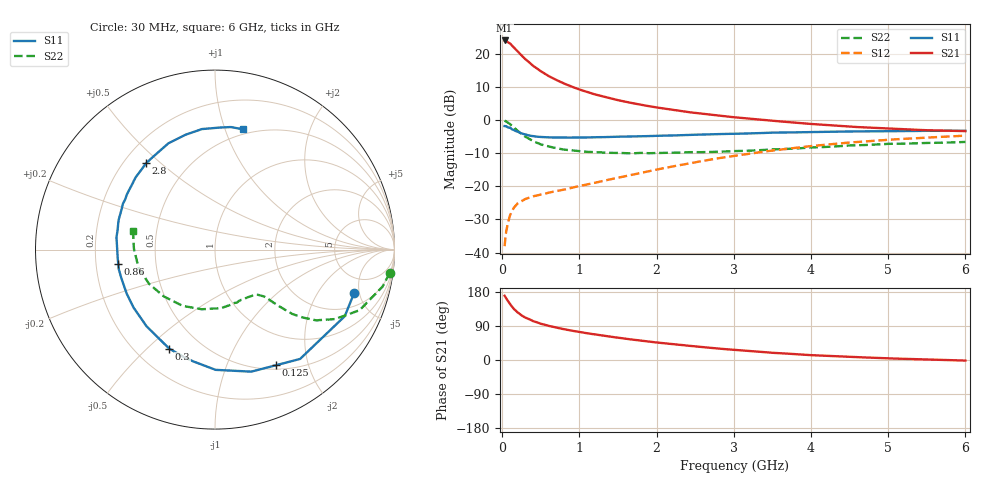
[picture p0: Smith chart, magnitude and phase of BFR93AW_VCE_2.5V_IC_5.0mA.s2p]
! Infineon Technologies  Discrete & RF Semiconductors
! BFR93AW
! VCE =  2.5 V,  IC =  5.0 mA
! Common Emitter S-Parameters:  Nov 2015
# GHz  S  MA  R  50
!  f  S11  S21  S12  S22
! GHz  MAG  ANG  MAG  ANG  MAG  ANG  MAG  ANG
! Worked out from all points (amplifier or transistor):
!   206 points, 30 MHz to 6 GHz, reference 50 ohm
!   highest |S21| = 24.0 dB at 30 MHz (marker M1)
!   |S21| within 3 dB of that: start of sweep to 186.6 MHz
!   unconditionally stable (mu >= 1): 939.3 MHz to 2.381 GHz
!   at 200 MHz: K = 0.31, MSG = 22.9 dB, |S12| = -25.1 dB
!   at 1.56 GHz: K = 1.11, MAG = 9.4 dB, |S12| = -17.1 dB
!   at 6 GHz: K = 0.96, MSG = 0.7 dB, |S12| = -4.7 dB
!   S11 on the Smith chart (normalised r, x): 30 MHz: 3.11, -4.43; 125 MHz: 0.55, -1.51; 300 MHz: 0.34, -0.59; 860 MHz: 0.30, -0.07; 2.8 GHz: 0.29, +0.45; 6 GHz: 0.45, +1.15
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0.03  0.8121 -17.4  15.92 169.6  0.0125 79.0  0.9825 -7.6
0.05  0.8126 -27.2  15.71 162.5  0.0206 75.0  0.9559 -12.5
0.1  0.7719 -52.1  14.36 147.2  0.0364 65.4  0.8732 -22.8
0.125  0.7279 -62.3  13.34 141.4  0.0419 60.4  0.821 -26.2
0.15  0.7095 -73.4  12.48 134.6  0.0476 56.5  0.7721 -30.1
0.2  0.67 -89.7  10.87 125.3  0.0554 51.0  0.6872 -35.0
0.24  0.6349 -100.8  9.703 119.3  0.0589 47.7  0.6283 -37.3
0.26  0.6238 -105.9  9.196 116.5  0.0607 46.6  0.603 -38.3
0.3  0.6078 -114.8  8.291 111.7  0.0645 45.3  0.5599 -39.8
0.4  0.5728 -131.7  6.581 102.5  0.0707 43.4  0.4804 -41.4
0.5  0.557 -144.5  5.452 95.6  0.0753 43.8  0.4292 -42.4
0.6  0.5498 -153.5  4.622 90.1  0.0804 44.9  0.399 -42.9
0.7  0.5458 -161.5  4.03 85.5  0.085 46.2  0.3767 -43.8
0.86  0.545 -171.5  3.336 79.0  0.0929 49.4  0.3525 -45.8
1.04  0.5453 179.5  2.795 72.5  0.1034 52.6  0.3363 -48.7
1.5  0.5618 162.8  1.997 58.8  0.1348 58.9  0.3198 -59.1
2.02  0.5799 147.3  1.539 45.8  0.1807 61.8  0.3196 -73.8
2.8  0.6159 128.6  1.17 30.2  0.2655 60.0  0.3332 -96.9
3.1  0.6244 122.0  1.077 25.3  0.299 57.8  0.3421 -106.2
4.1  0.6626 102.7  0.858 11.9  0.4153 47.4  0.3892 -140.5
5.1  0.6805 87.7  0.736 3.7  0.5132 34.6  0.4385 -169.6
6  0.6881 76.9  0.682 -1.5  0.5819 23.6  0.468 167.3
